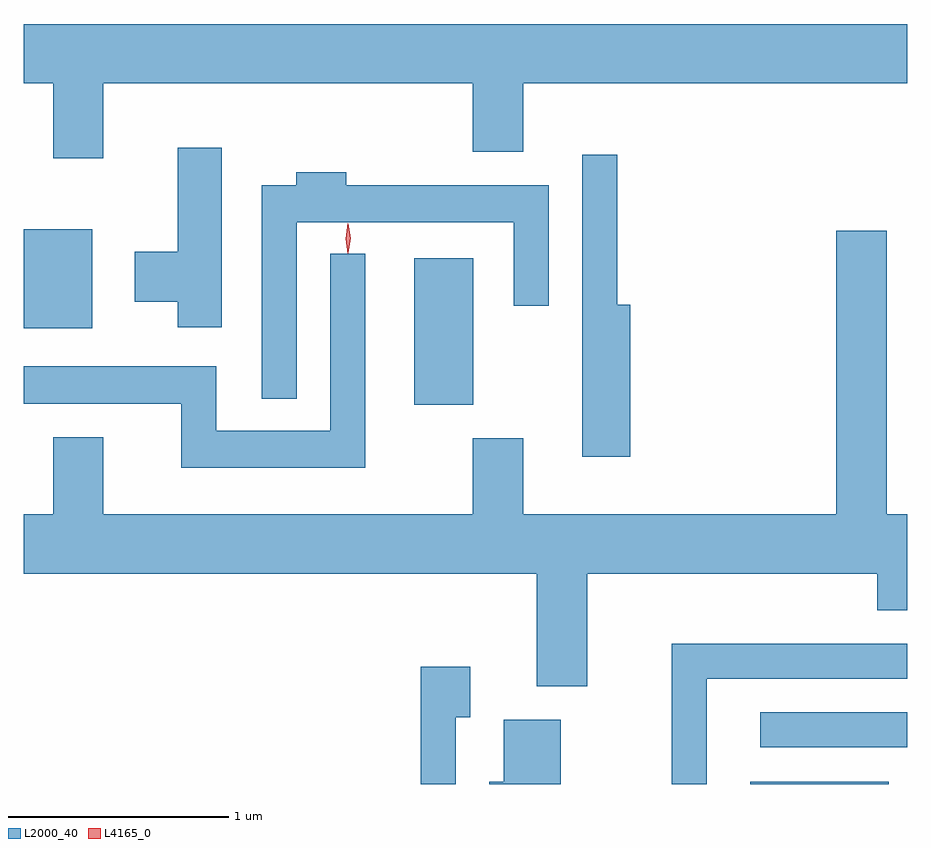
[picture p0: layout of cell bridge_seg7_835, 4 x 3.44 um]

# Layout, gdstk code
import gdstk
lib = gdstk.Library(unit=1e-6, precision=1e-09)
def R(c, l, rs):  # rectangles x0, y0, x1, y1
    for r in rs: c.add(gdstk.rectangle(r[:2], r[2:], *l))
def P(c, l, *ps):  # polygons
    for p in ps: c.add(gdstk.Polygon(p, *l))
L2000_40 = (2000, 40)
L4165_0 = (4165, 0)

bridge_seg7_835 = lib.new_cell('bridge_seg7_835')
R(bridge_seg7_835, L2000_40, [(319.266,1682.284,319.893,1682.294), (319.313,1682.451,319.978,1682.609), (317.746,1684.001,318.014,1684.664), (315.978,1684.346,316.289,1684.794)])
P(bridge_seg7_835, L2000_40, [(316.339,1685.456),(318.011,1685.456),(318.011,1685.146),(318.239,1685.146),(318.239,1685.456),(319.978,1685.456),(319.978,1685.724),(315.978,1685.724),(315.978,1685.456),(316.111,1685.456),(316.111,1685.116),(316.339,1685.116)],
  [(316.874,1685.164),(316.676,1685.164),(316.676,1684.694),(316.481,1684.694),(316.481,1684.466),(316.676,1684.466),(316.676,1684.351),(316.874,1684.351)],
  [(318.724,1684.454),(318.664,1684.454),(318.664,1685.133),(318.506,1685.133),(318.506,1683.766),(318.724,1683.766)],
  [(317.214,1684.826),(318.196,1684.826),(318.196,1684.448),(318.354,1684.448),(318.354,1684.994),(317.439,1684.994),(317.439,1685.054),(317.211,1685.054),(317.211,1684.994),(317.056,1684.994),(317.056,1684.028),(317.214,1684.028)],
  [(318.529,1683.236),(319.841,1683.236),(319.841,1683.071),(319.978,1683.071),(319.978,1683.504),(319.884,1683.504),(319.884,1684.789),(319.656,1684.789),(319.656,1683.504),(318.239,1683.504),(318.239,1683.849),(318.011,1683.849),(318.011,1683.504),(316.339,1683.504),(316.339,1683.854),(316.111,1683.854),(316.111,1683.504),(315.978,1683.504),(315.978,1683.236),(318.301,1683.236),(318.301,1682.726),(318.529,1682.726)],
  [(317.524,1684.683),(317.366,1684.683),(317.366,1683.884),(316.849,1683.884),(316.849,1684.174),(315.978,1684.174),(315.978,1684.006),(316.691,1684.006),(316.691,1683.716),(317.524,1683.716)],
  [(319.069,1682.761),(319.978,1682.761),(319.978,1682.919),(318.911,1682.919),(318.911,1682.284),(319.069,1682.284)],
  [(317.934,1682.586),(317.999,1682.586),(317.999,1682.814),(317.776,1682.814),(317.776,1682.284),(317.934,1682.284)],
  [(318.409,1682.574),(318.151,1682.574),(318.151,1682.294),(318.086,1682.294),(318.086,1682.284),(318.409,1682.284)])
P(bridge_seg7_835, L4165_0, [(317.444,1684.684),(317.435,1684.753),(317.444,1684.823),(317.445,1684.823),(317.445,1684.823),(317.455,1684.753),(317.445,1684.684),(317.445,1684.684)],
  [(317.447,1684.687),(317.438,1684.754),(317.447,1684.82),(317.448,1684.821),(317.448,1684.82),(317.458,1684.754),(317.448,1684.687),(317.448,1684.687)])

lib.write_gds('bridge_seg7_835.gds')
